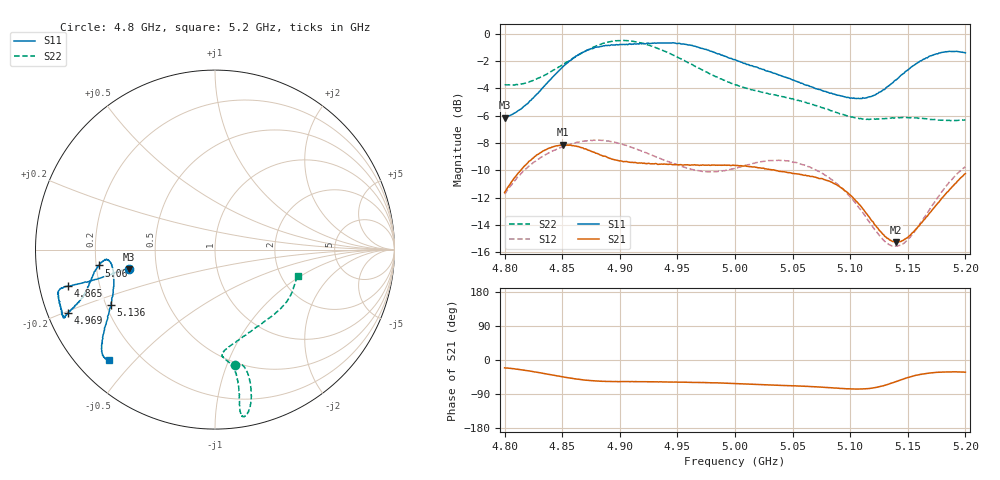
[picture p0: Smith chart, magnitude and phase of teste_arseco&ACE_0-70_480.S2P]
! Network Analyzer HP8722D
! Hewlett-Packard
! Data name: Linha & Wilkinson
! Saver's name: Rodrigo Anjos
! Comments: Teste da utilização de aquisição
! continua pelo VNA HP8722D
! Time and date: 8/5/2025 16:45
!  Frequency  S11  S21  S12  S22
# HZ  S  MA R 50
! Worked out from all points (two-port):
!   401 points, 4.8 GHz to 5.2 GHz, reference 50 ohm
!   highest |S21| = -8.13 dB at 4.851 GHz (marker M1); lowest = -15.2 dB at 5.14 GHz (marker M2)
!   |S21| within 3 dB of the highest: 4.804 GHz to 5.09 GHz (286 MHz wide, 5.78 % of centre); 5.189357 GHz to end of sweep
!   lowest |S11| = -6.1 dB at 4.8 GHz (marker M3), VSWR 2.95, Z = 17.1 - j4.88 ohm
!   |S11| at or under -10 dB: nowhere
!   |S22| runs from -6.4 to -0.5 dB; largest |S21 - S12| = 0.62
!   S11 on the Smith chart (normalised r, x): 4.8 GHz: 0.34, -0.10; 4.865 GHz: 0.09, -0.12; 4.969 GHz: 0.06, -0.21; 5.06 GHz: 0.21, -0.06; 5.136 GHz: 0.22, -0.24; 5.2 GHz: 0.10, -0.42
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4.8e9  0.4935 -167.4  0.2625 -20.8  0.2588 -141.9  0.6508 -80.1
4.826e9  0.5894 -166.8  0.3549 -31.5  0.3402 -146.1  0.6779 -75.9
4.851e9  0.76 -165.9  0.3923 -44.9  0.3866 -150.6  0.7736 -75.2
4.865e9  0.8429 -166.1  0.3851 -51.2  0.4019 -152.8  0.8387 -76.0
4.867e9  0.852 -166.1  0.383 -52.0  0.4031 -153.1  0.8501 -76.2
4.88e9  0.8929 -165.6  0.3652 -55.5  0.4079 -155.0  0.9046 -77.5
4.899e9  0.9098 -163.0  0.3432 -57.1  0.3975 -157.3  0.9435 -79.9
4.934e9  0.9256 -156.8  0.333 -57.8  0.3515 -155.9  0.8796 -81.0
4.969e9  0.8894 -156.7  0.3297 -59.3  0.3151 -147.6  0.7471 -80.2
5e9  0.8034 -159.4  0.3298 -62.3  0.3226 -137.7  0.6514 -81.7
5.036e9  0.7124 -166.0  0.3156 -66.7  0.344 -135.2  0.5961 -86.0
5.06e9  0.6519 -172.2  0.3032 -69.2  0.3311 -137.1  0.5624 -84.3
5.067e9  0.638 -173.5  0.3007 -70.1  0.3221 -137.8  0.551 -82.6
5.084e9  0.6056 -174.7  0.2865 -73.4  0.2925 -139.3  0.5222 -75.8
5.1e9  0.581 -171.7  0.2571 -76.2  0.253 -139.4  0.4979 -66.4
5.115e9  0.5846 -164.8  0.2176 -75.6  0.2093 -135.5  0.4867 -55.6
5.134e9  0.6474 -153.1  0.1762 -62.9  0.1691 -118.6  0.4911 -42.7
5.136e9  0.657 -152.0  0.1745 -61.0  0.1673 -116.0  0.4915 -41.6
5.14e9  0.6784 -150.0  0.173 -56.8  0.1673 -110.6  0.4926 -39.3
5.151e9  0.7421 -145.3  0.1818 -45.5  0.1785 -96.7  0.493 -33.6
5.171e9  0.8331 -139.3  0.2262 -33.8  0.2347 -81.5  0.4852 -24.8
5.2e9  0.8507 -133.7  0.3076 -32.1  0.3265 -77.7  0.4838 -17.6
